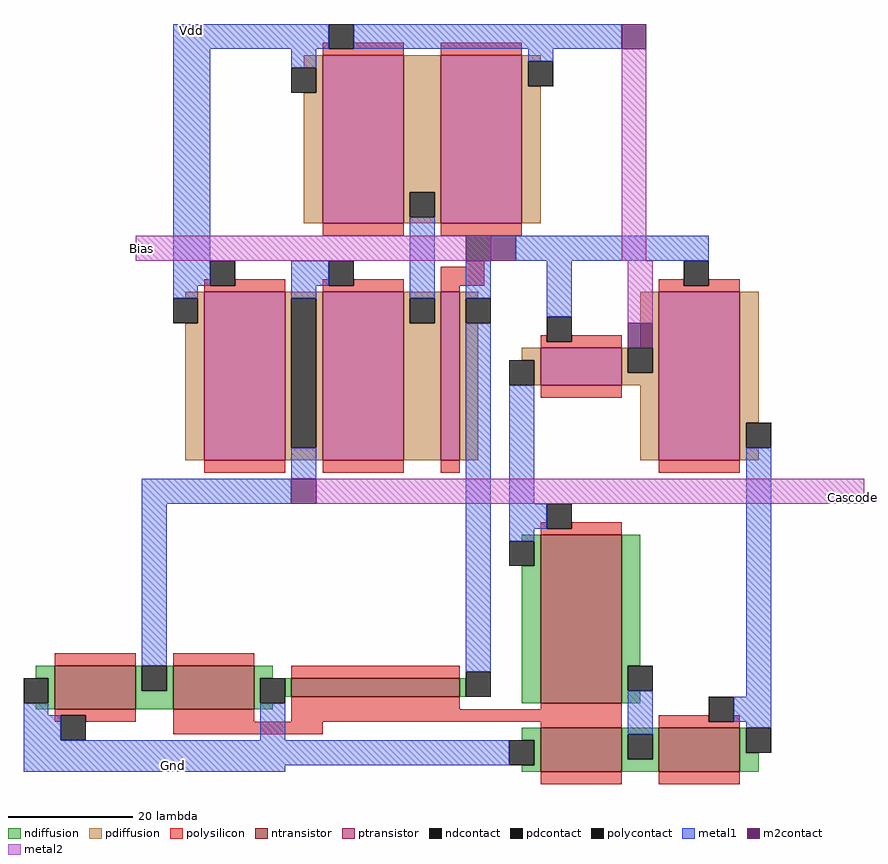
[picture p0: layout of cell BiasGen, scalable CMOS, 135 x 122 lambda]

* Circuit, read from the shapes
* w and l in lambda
.subckt BiasGen Bias Cascode Gnd Vdd
M1 Cascode Gnd Gnd VSUBS nfet w=7 l=13
M2 Gnd n1 Cascode VSUBS nfet w=7 l=13
M3 Bias n1 Gnd VSUBS nfet w=3 l=27
M4 n2 n1 Gnd VSUBS nfet w=7 l=13
M5 n2 n1 n1 VSUBS nfet w=27 l=13
M6 n3 n3 n2 VSUBS nfet w=7 l=13
M7 Cascode Vdd Vdd NWELL pfet w=27 l=13
M8 n4 Cascode Cascode NWELL pfet w=27 l=13
M9 n4 Vdd Vdd NWELL pfet w=27 l=13
M10 Bias Bias n4 NWELL pfet w=27 l=3
M11 Vdd Bias n4 NWELL pfet w=27 l=13
M12 Vdd Bias n1 NWELL pfet w=6 l=13
M13 n3 Bias Vdd NWELL pfet w=27 l=13
.ends

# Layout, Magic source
magic
tech scmos
<< ntransistor >>
rect -18 -49 -5 -42
rect 1 -49 14 -42
rect 20 -47 47 -44
rect 60 -48 73 -21
rect 60 -59 73 -52
rect 79 -59 92 -52
<< ptransistor >>
rect 25 29 38 56
rect 44 29 57 56
rect 6 -9 19 18
rect 25 -9 38 18
rect 44 -9 47 18
rect 60 3 73 9
rect 79 -9 92 18
<< ndiffusion >>
rect 57 -22 60 -21
rect 59 -26 60 -22
rect -21 -44 -18 -42
rect -19 -48 -18 -44
rect -21 -49 -18 -48
rect -5 -46 -4 -42
rect 0 -46 1 -42
rect -5 -49 1 -46
rect 14 -44 17 -42
rect 14 -48 15 -44
rect 19 -47 20 -44
rect 47 -47 48 -44
rect 14 -49 17 -48
rect 57 -48 60 -26
rect 73 -42 76 -21
rect 73 -46 74 -42
rect 73 -48 76 -46
rect 57 -54 60 -52
rect 59 -58 60 -54
rect 57 -59 60 -58
rect 73 -53 79 -52
rect 73 -57 74 -53
rect 78 -57 79 -53
rect 73 -59 79 -57
rect 92 -56 93 -52
rect 92 -59 95 -56
<< pdiffusion >>
rect 22 54 25 56
rect 24 50 25 54
rect 22 29 25 50
rect 38 34 44 56
rect 38 30 39 34
rect 43 30 44 34
rect 38 29 44 30
rect 57 55 60 56
rect 57 51 58 55
rect 57 29 60 51
rect 3 17 6 18
rect 5 13 6 17
rect 3 -9 6 13
rect 19 17 25 18
rect 19 -7 20 17
rect 24 -7 25 17
rect 19 -9 25 -7
rect 38 17 44 18
rect 38 13 39 17
rect 43 13 44 17
rect 38 -9 44 13
rect 47 17 50 18
rect 47 13 48 17
rect 47 -9 50 13
rect 76 9 79 18
rect 57 7 60 9
rect 59 3 60 7
rect 73 5 74 9
rect 78 5 79 9
rect 73 3 79 5
rect 76 -9 79 3
rect 92 -3 95 18
rect 92 -7 93 -3
rect 92 -9 95 -7
<< ndcontact >>
rect 55 -26 59 -22
rect -23 -48 -19 -44
rect -4 -46 0 -42
rect 15 -48 19 -44
rect 48 -47 52 -43
rect 74 -46 78 -42
rect 55 -58 59 -54
rect 74 -57 78 -53
rect 93 -56 97 -52
<< pdcontact >>
rect 20 50 24 54
rect 39 30 43 34
rect 58 51 62 55
rect 1 13 5 17
rect 20 -7 24 17
rect 39 13 43 17
rect 48 13 52 17
rect 55 3 59 7
rect 74 5 78 9
rect 93 -7 97 -3
<< polysilicon >>
rect 25 57 26 58
rect 30 57 38 58
rect 25 56 38 57
rect 44 56 57 58
rect 25 27 38 29
rect 44 27 57 29
rect 6 19 7 20
rect 11 19 19 20
rect 6 18 19 19
rect 25 19 26 20
rect 48 22 51 23
rect 30 19 38 20
rect 25 18 38 19
rect 44 19 51 22
rect 79 19 83 20
rect 87 19 92 20
rect 44 18 47 19
rect 79 18 92 19
rect 60 10 61 11
rect 65 10 73 11
rect 60 9 73 10
rect 60 1 73 3
rect 6 -11 19 -9
rect 25 -11 38 -9
rect 44 -11 47 -9
rect 79 -11 92 -9
rect 60 -20 61 -19
rect 65 -20 73 -19
rect 60 -21 73 -20
rect -18 -42 -5 -40
rect 1 -42 14 -40
rect 20 -44 47 -42
rect 20 -49 47 -47
rect 60 -49 73 -48
rect -18 -50 -5 -49
rect -18 -51 -17 -50
rect -13 -51 -5 -50
rect 1 -51 14 -49
rect 20 -51 73 -49
rect 1 -53 25 -51
rect 60 -52 73 -51
rect 79 -51 87 -50
rect 91 -51 92 -50
rect 79 -52 92 -51
rect 60 -61 73 -59
rect 79 -61 92 -59
<< polycontact >>
rect 26 57 30 61
rect 48 23 52 27
rect 7 19 11 23
rect 26 19 30 23
rect 83 19 87 23
rect 61 10 65 14
rect 61 -20 65 -16
rect -17 -54 -13 -50
rect 87 -51 91 -47
<< metal1 >>
rect 1 57 26 61
rect 30 57 73 61
rect 1 19 7 57
rect 20 54 24 57
rect 58 55 62 57
rect 20 19 26 23
rect 1 17 5 19
rect 20 17 24 19
rect 39 17 43 30
rect 56 23 87 27
rect 48 17 52 23
rect 20 -12 24 -7
rect -4 -16 20 -12
rect -4 -42 0 -16
rect 48 -43 52 13
rect 61 14 65 23
rect 55 -16 59 3
rect 55 -20 61 -16
rect 55 -22 59 -20
rect -23 -50 -19 -48
rect -23 -54 -17 -50
rect 15 -54 19 -48
rect 74 -53 78 -46
rect 93 -47 97 -7
rect 91 -51 97 -47
rect -23 -58 55 -54
rect 93 -52 97 -51
rect -23 -59 19 -58
<< m2contact >>
rect 73 57 77 61
rect 52 23 56 27
rect 20 -16 24 -12
rect 74 9 78 13
<< metal2 >>
rect -5 23 52 27
rect 73 23 77 57
rect 74 13 78 23
rect 24 -16 112 -12
<< labels >>
rlabel metal2 -4 25 -4 25 3 Bias
rlabel metal2 110 -15 110 -15 7 Cascode
rlabel metal1 1 -58 1 -58 1 Gnd
rlabel metal1 4 60 4 60 5 Vdd
<< end >>
